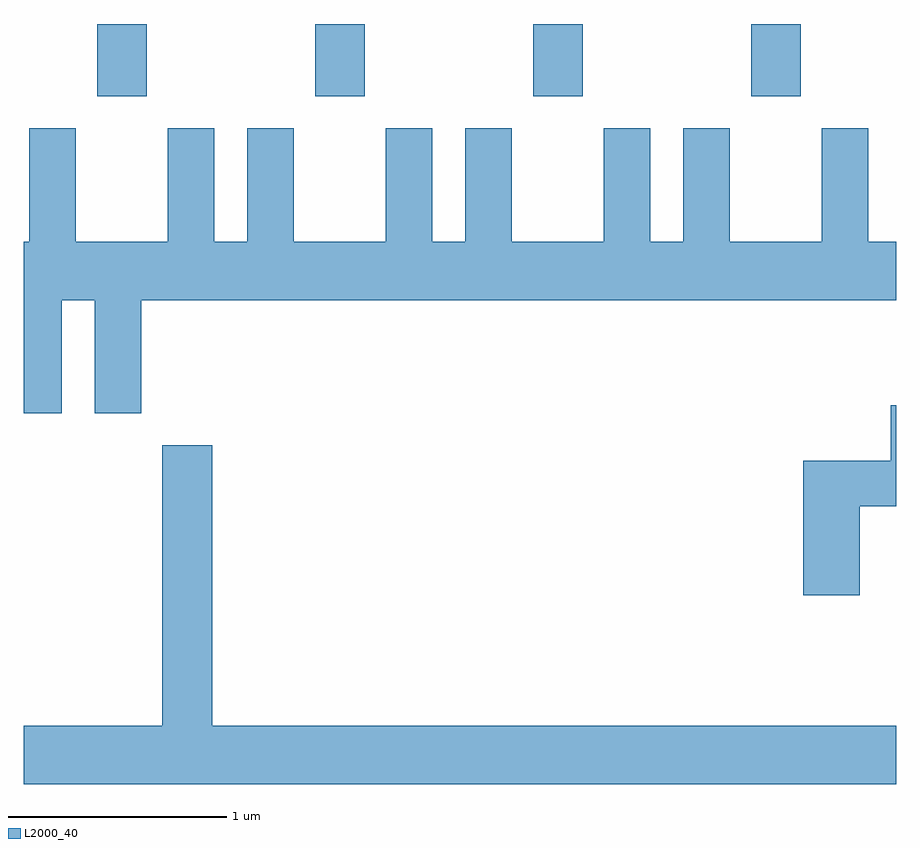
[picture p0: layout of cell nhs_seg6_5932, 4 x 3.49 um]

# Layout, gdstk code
import gdstk
lib = gdstk.Library(unit=1e-6, precision=1e-09)
def R(c, l, rs):  # rectangles x0, y0, x1, y1
    for r in rs: c.add(gdstk.rectangle(r[:2], r[2:], *l))
def A(c, l, x, y, w, h, nx, ny, dx, dy):  # array of equal rectangles
    R(c, l, [(x+i*dx, y+j*dy, x+i*dx+w, y+j*dy+h) for i in range(nx) for j in range(ny)])
def P(c, l, *ps):  # polygons
    for p in ps: c.add(gdstk.Polygon(p, *l))
L2000_40 = (2000, 40)

nhs_seg6_5932 = lib.new_cell('nhs_seg6_5932')
A(nhs_seg6_5932, L2000_40, 365.946, 1579.831, 0.228, 0.331, 4, 1, 1, 0)
P(nhs_seg6_5932, L2000_40, [(365.784,1578.896),(365.936,1578.896),(365.936,1578.376),(366.149,1578.376),(366.149,1578.896),(369.611,1578.896),(369.611,1579.164),(369.484,1579.164),(369.484,1579.684),(369.271,1579.684),(369.271,1579.164),(368.849,1579.164),(368.849,1579.684),(368.636,1579.684),(368.636,1579.164),(368.484,1579.164),(368.484,1579.684),(368.271,1579.684),(368.271,1579.164),(367.849,1579.164),(367.849,1579.684),(367.636,1579.684),(367.636,1579.164),(367.484,1579.164),(367.484,1579.684),(367.271,1579.684),(367.271,1579.164),(366.849,1579.164),(366.849,1579.684),(366.636,1579.684),(366.636,1579.164),(366.484,1579.164),(366.484,1579.684),(366.271,1579.684),(366.271,1579.164),(365.849,1579.164),(365.849,1579.684),(365.636,1579.684),(365.636,1579.164),(365.611,1579.164),(365.611,1578.376),(365.784,1578.376)],
  [(369.444,1577.951),(369.611,1577.951),(369.611,1578.414),(369.586,1578.414),(369.586,1578.159),(369.186,1578.159),(369.186,1577.541),(369.444,1577.541)],
  [(369.611,1576.944),(366.474,1576.944),(366.474,1578.229),(366.246,1578.229),(366.246,1576.944),(365.611,1576.944),(365.611,1576.676),(369.611,1576.676)])

lib.write_gds('nhs_seg6_5932.gds')
